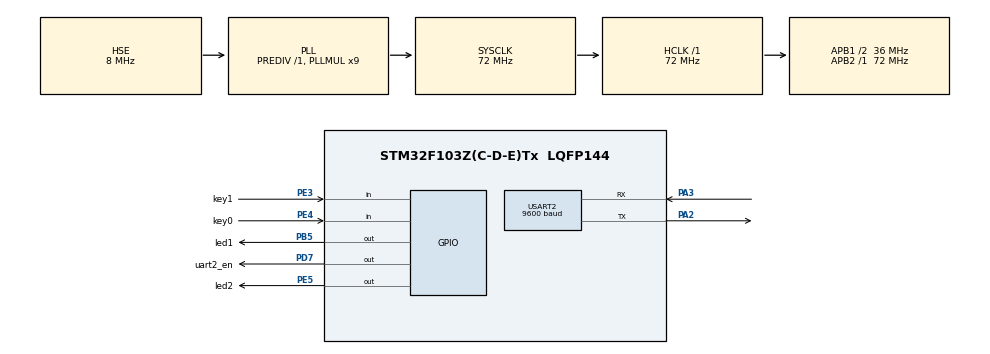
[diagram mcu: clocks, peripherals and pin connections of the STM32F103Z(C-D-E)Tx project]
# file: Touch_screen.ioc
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ADC1.Channel-1\#ChannelRegularConversion=ADC_CHANNEL_TEMPSENSOR
ADC1.NbrOfConversionFlag=1
ADC1.Rank-1\#ChannelRegularConversion=1
ADC1.SamplingTime-1\#ChannelRegularConversion=ADC_SAMPLETIME_239CYCLES_5
ADC1.master=1
Mcu.Family=STM32F1
Mcu.Name=STM32F103Z(C-D-E)Tx
Mcu.Package=LQFP144
NVIC.PriorityGroup=NVIC_PRIORITYGROUP_4
NVIC.USART2_IRQn=true\:0\:0\:false\:false\:true\:true\:true
OSC_IN.Mode=HSE-External-Oscillator
OSC_IN.Signal=RCC_OSC_IN
OSC_OUT.Mode=HSE-External-Oscillator
OSC_OUT.Signal=RCC_OSC_OUT
PA13.Mode=Serial_Wire
PA13.Signal=SYS_JTMS-SWDIO
PA14.Mode=Serial_Wire
PA14.Signal=SYS_JTCK-SWCLK
PA2.Mode=Asynchronous
PA2.Signal=USART2_TX
PA3.Mode=Asynchronous
PA3.Signal=USART2_RX
PB5.GPIO_Label=led1
PB5.PinState=GPIO_PIN_SET
PB5.Signal=GPIO_Output
PD7.GPIO_Label=uart2_en
PD7.Signal=GPIO_Output
PE3.GPIO_Label=key1
PE3.GPIO_PuPd=GPIO_PULLUP
PE3.Signal=GPIO_Input
PE4.GPIO_Label=key0
PE4.GPIO_PuPd=GPIO_PULLUP
PE4.Signal=GPIO_Input
PE5.GPIO_Label=led2
PE5.PinState=GPIO_PIN_SET
PE5.Signal=GPIO_Output
ProjectManager.HeapSize=0x200
ProjectManager.StackSize=0x400
ProjectManager.TargetToolchain=MDK-ARM V5
RCC.ADCPresc=RCC_ADCPCLK2_DIV6
RCC.AHBFreq_Value=72000000
RCC.APB1CLKDivider=RCC_HCLK_DIV2
RCC.APB1Freq_Value=36000000
RCC.APB1TimFreq_Value=72000000
RCC.APB2Freq_Value=72000000
RCC.APB2TimFreq_Value=72000000
RCC.HCLKFreq_Value=72000000
RCC.PLLMUL=RCC_PLL_MUL9
RCC.PLLSourceVirtual=RCC_PLLSOURCE_HSE
RCC.SYSCLKFreq_VALUE=72000000
RCC.SYSCLKSource=RCC_SYSCLKSOURCE_PLLCLK
RCC.USBFreq_Value=72000000
USART2.BaudRate=9600
USART2.VirtualMode=VM_ASYNC
VP_ADC1_TempSens_Input.Mode=IN-TempSens
board=custom

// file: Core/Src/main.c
/* USER CODE BEGIN Header */
/**
  ******************************************************************************
  * @file           : main.c
  * @brief          : Main program body
  ******************************************************************************
  * @attention
  *
  * <h2><center>&copy; Copyright (c) 2022 STMicroelectronics.
  * All rights reserved.</center></h2>
  *
  * This software component is licensed by ST under BSD 3-Clause license,
  * the "License"; You may not use this file except in compliance with the
  * License. You may obtain a copy of the License at:
  *                        opensource.org/licenses/BSD-3-Clause
  *
  ******************************************************************************
  */
/* USER CODE END Header */
#include "main.h"
#include "adc.h"
#include "usart.h"
#include "gpio.h"

/* USER CODE BEGIN Includes */
#include "bsp.h"
#include "mbslave.h"
#include "MultiTimer.h"
#include "stdio.h"
#include "string.h"
/* USER CODE END Includes */

/* USER CODE BEGIN PV */
uint64_t time = 0;
MultiTimer timer1;
extern uint8_t rx_byte;
volatile float temper;

extern uint16_t OUTREG[20];
extern uint16_t INREG[20];
extern uint8_t OUTPUT[40];
extern uint8_t INPUT[40];
/* USER CODE END PV */

void SystemClock_Config(void);
/* USER CODE BEGIN PFP */
uint64_t PlatformTicksGetFunc(void);
void Timer1Callback(MultiTimer* timer, void *userData);
/* USER CODE END PFP */

int main(void)
{

  /* MCU Configuration--------------------------------------------------------*/

  /* Reset of all peripherals, Initializes the Flash interface and the Systick. */
  HAL_Init();

  /* Configure the system clock */
  SystemClock_Config();

  /* Initialize all configured peripherals */
  MX_GPIO_Init();
  MX_USART2_UART_Init();
  MX_ADC1_Init();
  /* USER CODE BEGIN 2 */
MultiTimerInstall(PlatformTicksGetFunc);
HAL_UART_Receive_IT(&huart2,&rx_byte,1);
  /* USER CODE END 2 */

  /* Infinite loop */
  /* USER CODE BEGIN WHILE */
  while (1)
  {
	  uint8_t buf[64];
	  uint8_t len;
	  RS485_Receive_Data(buf,&len);
	  if(len > 0)					//判断是否接收到数据
	  {
		modbus_process(buf,len,0x01);	//将接收的数据进行处理，第三个参数为本站地址。
	  }

	  //发现上位机下发数据，启动定时器，并清除对应输出寄存器
	  if(OUTREG[0] != 0)
	  {
		uint32_t led_time = OUTREG[0];
		OUTREG[0] = 0;
		HAL_GPIO_WritePin(led1_GPIO_Port,led1_Pin,GPIO_PIN_RESET);
		MultiTimerStart(&timer1, led_time, Timer1Callback, NULL);
	  }

	  //更新温度对应的输入寄存器，占两个寄存器位置
	  temper = get_temper();
	  INREG[0] = *((uint16_t*)&temper + 1);
	  INREG[1] = *(uint16_t*)&temper;

	  //更新线圈
	  HAL_GPIO_WritePin(led2_GPIO_Port,led2_Pin,(GPIO_PinState)(OUTPUT[0] & 0x01));

	  //更新状态灯对应的输入开关bit位
	  INPUT[0] &= ~(0x03);	//清除bit0、bit1的数据
	  INPUT[0] |= HAL_GPIO_ReadPin(key0_GPIO_Port,key0_Pin);
	  INPUT[0] |= HAL_GPIO_ReadPin(key1_GPIO_Port,key1_Pin) << 1;

	  MultiTimerYield();//软件定时器
    /* USER CODE END WHILE */

  }
}

void SystemClock_Config(void)
{
  RCC_OscInitTypeDef RCC_OscInitStruct = {0};
  RCC_ClkInitTypeDef RCC_ClkInitStruct = {0};
  RCC_PeriphCLKInitTypeDef PeriphClkInit = {0};

  /** Initializes the RCC Oscillators according to the specified parameters
  * in the RCC_OscInitTypeDef structure.
  */
  RCC_OscInitStruct.OscillatorType = RCC_OSCILLATORTYPE_HSE;
  RCC_OscInitStruct.HSEState = RCC_HSE_ON;
  RCC_OscInitStruct.HSEPredivValue = RCC_HSE_PREDIV_DIV1;
  RCC_OscInitStruct.HSIState = RCC_HSI_ON;
  RCC_OscInitStruct.PLL.PLLState = RCC_PLL_ON;
  RCC_OscInitStruct.PLL.PLLSource = RCC_PLLSOURCE_HSE;
  RCC_OscInitStruct.PLL.PLLMUL = RCC_PLL_MUL9;
  if (HAL_RCC_OscConfig(&RCC_OscInitStruct) != HAL_OK)
  {
    Error_Handler();
  }
  /** Initializes the CPU, AHB and APB buses clocks
  */
  RCC_ClkInitStruct.ClockType = RCC_CLOCKTYPE_HCLK|RCC_CLOCKTYPE_SYSCLK
                              |RCC_CLOCKTYPE_PCLK1|RCC_CLOCKTYPE_PCLK2;
  RCC_ClkInitStruct.SYSCLKSource = RCC_SYSCLKSOURCE_PLLCLK;
  RCC_ClkInitStruct.AHBCLKDivider = RCC_SYSCLK_DIV1;
  RCC_ClkInitStruct.APB1CLKDivider = RCC_HCLK_DIV2;
  RCC_ClkInitStruct.APB2CLKDivider = RCC_HCLK_DIV1;

  if (HAL_RCC_ClockConfig(&RCC_ClkInitStruct, FLASH_LATENCY_2) != HAL_OK)
  {
    Error_Handler();
  }
  PeriphClkInit.PeriphClockSelection = RCC_PERIPHCLK_ADC;
  PeriphClkInit.AdcClockSelection = RCC_ADCPCLK2_DIV6;
  if (HAL_RCCEx_PeriphCLKConfig(&PeriphClkInit) != HAL_OK)
  {
    Error_Handler();
  }
}

/* USER CODE BEGIN 4 */

uint64_t PlatformTicksGetFunc(void)
{
    return time;
}

void Timer1Callback(MultiTimer* timer, void *userData)
{
    HAL_GPIO_WritePin(led1_GPIO_Port,led1_Pin,GPIO_PIN_SET);
}

/* USER CODE END 4 */

void Error_Handler(void)
{
}

/************************ (C) COPYRIGHT STMicroelectronics *****END OF FILE****/
